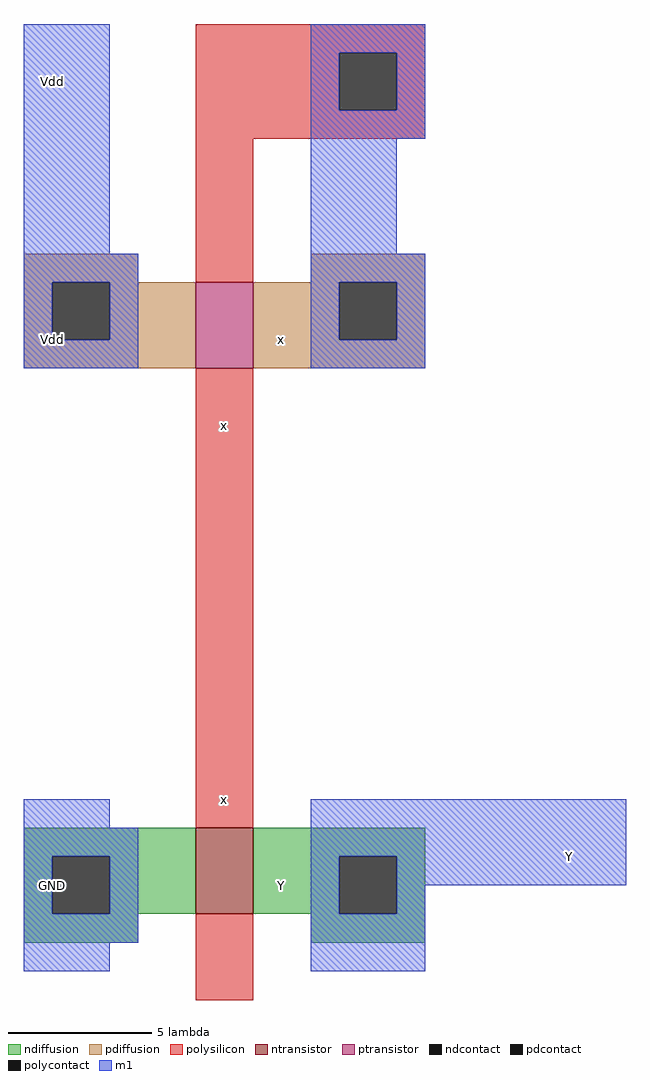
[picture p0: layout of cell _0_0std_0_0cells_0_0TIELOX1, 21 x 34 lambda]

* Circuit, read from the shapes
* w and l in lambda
.subckt _0_0std_0_0cells_0_0TIELOX1 Vdd
M1 Y x GND VSUBS nfet w=3 l=2
M2 x x Vdd NWELL pfet w=3 l=2
.ends

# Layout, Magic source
magic
tech TSMC180
<< ndiffusion >>
rect 6 11 12 12
rect 6 9 7 11
rect 9 9 12 11
rect 14 11 20 12
rect 14 9 17 11
rect 19 9 20 11
rect 6 8 10 9
rect 16 8 20 9
<< ndcontact >>
rect 7 9 9 11
rect 17 9 19 11
<< ntransistor >>
rect 12 9 14 12
<< pdiffusion >>
rect 6 31 10 32
rect 16 31 20 32
rect 6 29 7 31
rect 9 29 12 31
rect 6 28 12 29
rect 14 29 17 31
rect 19 29 20 31
rect 14 28 20 29
<< pdcontact >>
rect 7 29 9 31
rect 17 29 19 31
<< ptransistor >>
rect 12 28 14 31
<< polysilicon >>
rect 12 39 20 40
rect 12 37 17 39
rect 19 37 20 39
rect 12 36 20 37
rect 12 31 14 36
rect 12 12 14 28
rect 12 6 14 9
<< polycontact >>
rect 17 37 19 39
<< m1 >>
rect 6 32 9 40
rect 16 39 20 40
rect 16 37 17 39
rect 19 37 20 39
rect 16 36 20 37
rect 16 32 19 36
rect 6 31 10 32
rect 6 29 7 31
rect 9 29 10 31
rect 6 28 10 29
rect 16 31 20 32
rect 16 29 17 31
rect 19 29 20 31
rect 16 28 20 29
rect 6 12 9 13
rect 6 11 10 12
rect 6 9 7 11
rect 9 9 10 11
rect 6 8 10 9
rect 16 11 27 13
rect 16 9 17 11
rect 19 10 27 11
rect 19 9 20 10
rect 6 7 9 8
rect 16 7 20 9
<< labels >>
rlabel ndiffusion 15 10 15 10 3 Y
rlabel pdiffusion 15 29 15 29 3 x
rlabel polysilicon 13 13 13 13 3 x
rlabel polysilicon 13 26 13 26 3 x
rlabel ndiffusion 7 10 7 10 3 GND
rlabel pdiffusion 7 29 7 29 3 Vdd
rlabel m1 7 38 7 38 3 Vdd
port 3 e
rlabel m1 25 11 25 11 8 Y
<< end >>
